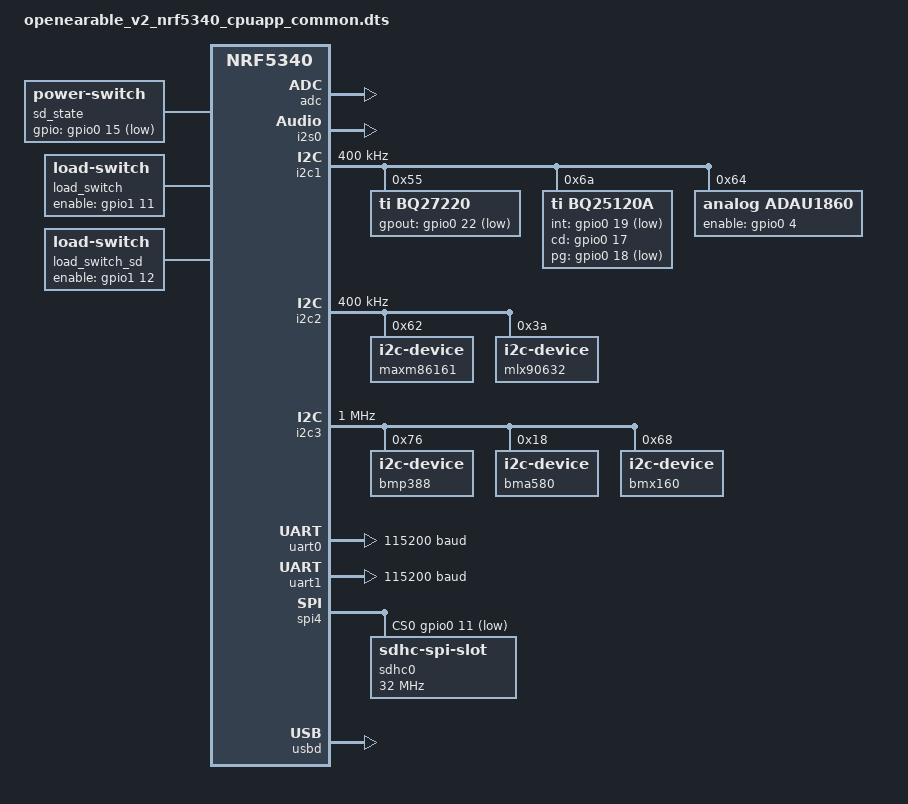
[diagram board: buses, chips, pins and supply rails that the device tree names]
/*
 * Copyright (c) 2023 Raytac Corporation
 *
 * SPDX-License-Identifier: Apache-2.0
 */
 #include "openearable_v2_nrf5340_cpuapp_common-pinctrl.dtsi"
 #include <zephyr/dt-bindings/input/input-event-codes.h>
 
 / {
	 chosen {
		 zephyr,console = &uart0;
		 zephyr,shell-uart = &uart0;
		 zephyr,uart-mcumgr = &cdc_acm_uart0;
		 zephyr,bt-mon-uart = &uart0;
		 zephyr,bt-c2h-uart = &uart0;
		 zephyr,bt-hci = &bt_hci_ipc0;
		 watchdog0 = &wdt0;
	 };
 
 
	 sd_state: sd_state {
		 compatible = "power-switch";
		 gpios = <&gpio0 15 (GPIO_PULL_UP | GPIO_ACTIVE_LOW)>;
	 };
 
	 load_switch: load_switch {
		 compatible = "load-switch";
		 enable-gpios = <&gpio1 11 GPIO_ACTIVE_HIGH>;
		 power-delay-us = <300>; // 250us per datasheet
		 status = "okay";
		 default-on;
	 };
 
	 load_switch_sd: load_switch_sd {
		 compatible = "load-switch";
		 enable-gpios = <&gpio1 12 GPIO_ACTIVE_HIGH>;
		 power-delay-us = <300>; // 250us per datasheet
		 status = "okay";
	 };
 
	 gpio_fwd: nrf-gpio-forwarder {
		 compatible = "nordic,nrf-gpio-forwarder";
		 status = "okay";
		 uart {
			 gpios = <&gpio1 6 0>, <&gpio0 7 0>, <&gpio0 2 0>, <&gpio0 3 0>;
		 };
	 };
 };
 
 &clock {
	 hfclkaudio-frequency = <12288000>;
 };

 // Oscillator Parameters 32mHz / 8pF / 20ppm
 &hfxo {
	load-capacitors = "internal";
	load-capacitance-femtofarad = <8000>;
 };

 &lfxo {
	load-capacitors = "external";
  };
 
 &adc {
	 status = "okay";
 };
 
 &gpiote {
	 status = "okay";
 };
 
 &gpio0 {
	 status = "okay";
 };
 
 &gpio1 {
	 status = "okay";
 };
 
 &i2s0 {
	 compatible = "nordic,nrf-i2s";
	 status = "okay";
	 pinctrl-0 = <&i2s0_default>;
	 pinctrl-1 = <&i2s0_sleep>;
	 pinctrl-names = "default", "sleep";
 };
 
 dmic_dev: &pdm0 {
	 compatible = "nordic,nrf-pdm";
	 status = "disabled";
	 pinctrl-0 = <&pdm0_default_alt>;
	 pinctrl-names = "default";
	 clock-source = "ACLK";
 };
 
 &i2c1 {
	 compatible = "nordic,nrf-twim";
	 status = "okay";
	 pinctrl-0 = <&i2c1_default>;
	 pinctrl-1 = <&i2c1_sleep>;
	 pinctrl-names = "default", "sleep";
	 clock-frequency = <I2C_BITRATE_FAST>;  // 400 kHz
	 zephyr,concat-buf-size = <512>;
     zephyr,flash-buf-max-size = <512>;
 
	 bq27220: bq27220@55 {
		 compatible = "ti,bq27220";
		 reg = <0x55>;
		 gpout-gpios = <&gpio0 22 (GPIO_PULL_UP | GPIO_ACTIVE_LOW)>;
	 };
 
	 bq25120a: bq25120a@6a {
		 compatible = "ti,bq25120a";
		 reg = <0x6a>;
		 int-gpios = <&gpio0 19 (GPIO_ACTIVE_LOW | GPIO_PULL_UP)>;
		 cd-gpios = <&gpio0 17 GPIO_ACTIVE_HIGH>;
		 pg-gpios = <&gpio0 18 (GPIO_ACTIVE_LOW | GPIO_PULL_UP)>;

		load-switch {
			compatible = "load-switch";
			enable-gpios = <&gpio0 14 GPIO_ACTIVE_HIGH>;
			power-delay-us = <600>; // 250us per datasheet
			status = "okay";
        };
	 };
 
	 adau1860: adau1860@64 {
		 compatible = "analog,adau1860";
		 reg = <0x64>;
		 enable-gpios = <&gpio0 4 GPIO_ACTIVE_HIGH>;
	 };
 };
 
 &i2c2 {
	 compatible = "nordic,nrf-twim";
	 status = "okay";
	 pinctrl-0 = <&i2c2_default>;
	 pinctrl-1 = <&i2c2_sleep>;
	 pinctrl-names = "default", "sleep";
	 clock-frequency = <I2C_BITRATE_FAST>;  // 400 kHz
	 zephyr,concat-buf-size = <512>;
     zephyr,flash-buf-max-size = <512>;

	maxm86161: maxm86161@62 {
        compatible = "i2c-device";
        reg = <0x62>;
    };

	mlx90632: mlx90632@3A {
        compatible = "i2c-device";
        reg = <0x3A>;
    };
 };
 
 &i2c3 {
	 compatible = "nordic,nrf-twim";
	 status = "okay";
	 pinctrl-0 = <&i2c3_default>;
	 pinctrl-1 = <&i2c3_sleep>;
	 pinctrl-names = "default", "sleep";
	 clock-frequency = <I2C_BITRATE_FAST_PLUS>;  // 1000 kHz
	 zephyr,concat-buf-size = <512>;
     zephyr,flash-buf-max-size = <512>;

	bmp388: bmp388@76 {
        compatible = "i2c-device";
        reg = <0x76>;
    };

	bma580: bma580@18 {
        compatible = "i2c-device";
        reg = <0x18>;
    };

	bmx160: bmx160@68 {
        compatible = "i2c-device";
        reg = <0x68>;
    };
 };
 
 &uart0 {
	 status = "okay";
	 current-speed = <115200>;
	 pinctrl-0 = <&uart0_default>;
	 pinctrl-1 = <&uart0_sleep>;
	 pinctrl-names = "default", "sleep";
 };
 
 &uart1 {
	 compatible = "nordic,nrf-uarte";
	 current-speed = <115200>;
	 pinctrl-0 = <&uart1_default>;
	 pinctrl-1 = <&uart1_sleep>;
	 pinctrl-names = "default", "sleep";
 };
 
 &pwm0 {
	 status = "disabled"; // okay
	 pinctrl-0 = <&pwm0_default>;
	 pinctrl-1 = <&pwm0_sleep>;
	 pinctrl-names = "default", "sleep";
 };
 
 &qspi {
	 status = "disabled";
	 pinctrl-0 = <&qspi_default>;
	 pinctrl-1 = <&qspi_sleep>;
	 pinctrl-names = "default", "sleep";
 };
 
 &spi2 {
	 compatible = "nordic,nrf-spim";
	 status = "disabled";
	 cs-gpios = <&gpio0 25 GPIO_ACTIVE_LOW>;
 
	 pinctrl-0 = <&spi2_default>;
	 pinctrl-1 = <&spi2_sleep>;
	 pinctrl-names = "default", "sleep";
 };
 
 &spi3 {
	 compatible = "nordic,nrf-spim";
	 status = "disabled";
	 cs-gpios = <&gpio1 12 GPIO_ACTIVE_LOW>;
 
	 pinctrl-0 = <&spi3_default>;
	 pinctrl-1 = <&spi3_sleep>;
	 pinctrl-names = "default", "sleep";
 };
 
 &spi4 {
	 compatible = "nordic,nrf-spim";
	 status = "okay";
	 cs-gpios = <&gpio0 11 GPIO_ACTIVE_LOW>,<&gpio1 1 GPIO_ACTIVE_LOW>;
 
	 pinctrl-0 = <&spi4_default>;
	 pinctrl-1 = <&spi4_sleep>;
	 pinctrl-names = "default", "sleep";
	 sdhc0: sdhc@0 {
		 compatible = "zephyr,sdhc-spi-slot";
		 reg = <0>;
		 status = "okay";
		 sdmmc {
			 compatible = "zephyr,sdmmc-disk";
			 status = "okay";
			 disk-name = "SD";
		 };
 
		 spi-max-frequency = <32000000>;
	 };
 };
 
 zephyr_udc0: &usbd {
	 compatible = "nordic,nrf-usbd";
	 status = "okay";
	 cdc_acm_uart0: cdc_acm_uart0 {
		 compatible = "zephyr,cdc-acm-uart";
	 };
 };
 
 &uicr {
	 nfct-pins-as-gpios;
 };
 
 /* Include partition configuration file */
 //#include "openearable_v2_nrf5340_cpuapp_partition_conf.dts"
 #include <common/nordic/nrf5340_cpuapp_partition.dtsi>
 #include "openearable_v2_nrf5340_shared.dtsi"
 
